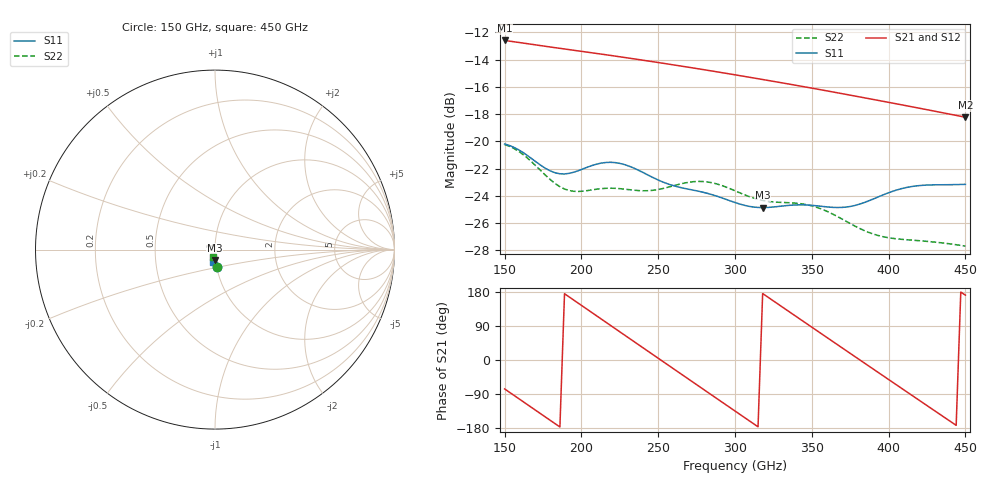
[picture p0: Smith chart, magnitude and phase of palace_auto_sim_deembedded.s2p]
! Created with skrf 1.11.0 (http://scikit-rf.org).
# GHz S DB R 50.0
!freq dBS11 angS11 dBS21 angS21 dBS12 angS12 dBS22 angS22
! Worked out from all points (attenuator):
!   101 points, 150 GHz to 450 GHz, reference 50 ohm
!   highest |S21| = -12.59 dB at 150 GHz (marker M1); lowest = -18.2 dB at 450 GHz (marker M2)
!   lowest |S11| = -24.9 dB at 318 GHz (marker M3), VSWR 1.12, Z = 49.5 - j5.66 ohm
!   |S11| at or under -10 dB: start of sweep to end of sweep
!   |S22| runs from -27.7 to -20.2 dB; largest |S21 - S12| = 2.4e-13
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150  -20.20 -82.3  -12.59 -76.3  -12.59 -76.3  -20.24 -83.5
162  -20.82 -86.0  -12.78 -109.8  -12.78 -109.8  -20.97 -88.3
177  -22.01 -85.9  -13.02 -151.6  -13.02 -151.6  -22.53 -90.1
189  -22.40 -81.8  -13.21 174.9  -13.21 174.9  -23.51 -86.0
201  -22.03 -79.8  -13.40 141.4  -13.40 141.4  -23.67 -81.4
213  -21.60 -82.6  -13.59 107.9  -13.59 107.9  -23.48 -80.2
225  -21.62 -87.7  -13.79 74.4  -13.79 74.4  -23.48 -81.1
240  -22.29 -92.9  -14.04 32.5  -14.04 32.5  -23.64 -81.2
252  -22.94 -94.2  -14.24 -0.9  -14.24 -0.9  -23.50 -80.8
264  -23.38 -94.1  -14.45 -34.4  -14.45 -34.4  -23.15 -82.5
276  -23.66 -94.5  -14.67 -67.8  -14.67 -67.8  -22.95 -86.7
288  -24.03 -95.3  -14.89 -101.2  -14.89 -101.2  -23.13 -91.7
300  -24.50 -95.0  -15.11 -134.6  -15.11 -134.6  -23.64 -95.4
318  -24.87 -91.8  -15.46 175.4  -15.46 175.4  -24.35 -97.1
336  -24.70 -90.3  -15.81 125.4  -15.81 125.4  -24.52 -98.8
351  -24.72 -90.8  -16.11 83.9  -16.11 83.9  -24.78 -102.9
366  -24.87 -89.6  -16.42 42.4  -16.42 42.4  -25.49 -106.7
378  -24.72 -87.5  -16.67 9.2  -16.67 9.2  -26.23 -107.5
402  -23.70 -87.7  -17.18 -57.0  -17.18 -57.0  -27.12 -104.6
423  -23.23 -93.1  -17.63 -114.8  -17.63 -114.8  -27.34 -103.5
438  -23.19 -96.5  -17.96 -156.0  -17.96 -156.0  -27.51 -103.8
450  -23.16 -99.0  -18.23 171.1  -18.23 171.1  -27.71 -104.4
